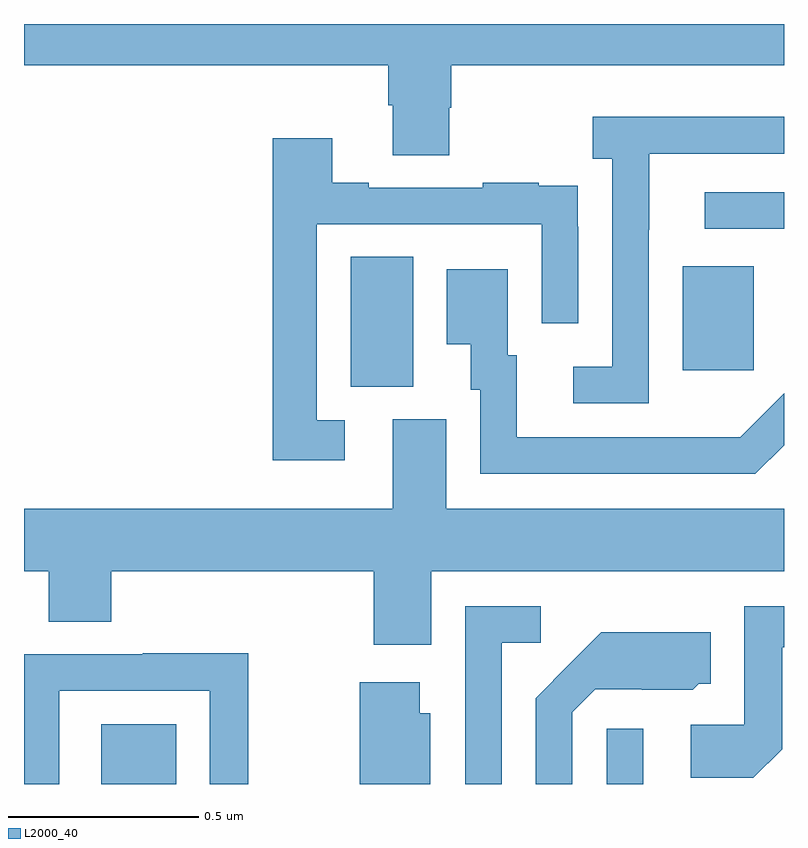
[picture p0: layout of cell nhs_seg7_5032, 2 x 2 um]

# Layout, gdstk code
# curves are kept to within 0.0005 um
import gdstk
lib = gdstk.Library(unit=1e-6, precision=1e-09)
def R(c, l, rs):  # rectangles x0, y0, x1, y1
    for r in rs: c.add(gdstk.rectangle(r[:2], r[2:], *l))
def P(c, l, *ps):  # polygons
    for p in ps: c.add(gdstk.Polygon(p, *l))
L2000_40 = (2000, 40)

nhs_seg7_5032 = lib.new_cell('nhs_seg7_5032')
R(nhs_seg7_5032, L2000_40, [(180.203,1056,180.4,1056.157), (181.533,1056,181.629,1056.145), (180.86,1057.045,181.024,1057.388), (181.733,1057.089,181.921,1057.363), (181.791,1057.461,182,1057.557)])
P(nhs_seg7_5032, L2000_40, [(181.119,1057.779),(181.124,1057.779),(181.124,1057.892),(182,1057.892),(182,1058),(180,1058),(180,1057.892),(180.959,1057.892),(180.959,1057.786),(180.971,1057.786),(180.971,1057.654),(181.119,1057.654)],
  [(181.644,1057.459),(181.645,1057.459),(181.645,1057.659),(182,1057.659),(182,1057.756),(181.497,1057.756),(181.497,1057.646),(181.548,1057.646),(181.548,1057.098),(181.446,1057.098),(181.446,1057.002),(181.644,1057.002)],
  [(180.844,1056.957),(180.771,1056.957),(180.771,1057.473),(181.362,1057.473),(181.362,1057.212),(181.458,1057.212),(181.458,1057.466),(181.457,1057.466),(181.457,1057.575),(181.355,1057.575),(181.355,1057.582),(181.207,1057.582),(181.207,1057.569),(180.907,1057.569),(180.907,1057.582),(180.811,1057.582),(180.811,1057.699),(180.655,1057.699),(180.655,1056.852),(180.844,1056.852)],
  [(182,1056.892),(182,1057.028),(181.885,1056.913),(181.781,1056.913),(181.781,1056.912),(181.297,1056.912),(181.297,1057.128),(181.273,1057.128),(181.273,1057.354),(181.112,1057.354),(181.112,1057.157),(181.175,1057.157),(181.175,1057.038),(181.2,1057.038),(181.2,1056.816),(181.924,1056.816)],
  [(181.072,1056.56),(182,1056.56),(182,1056.724),(181.111,1056.724),(181.111,1056.96),(180.971,1056.96),(180.971,1056.724),(180,1056.724),(180,1056.56),(180.065,1056.56),(180.065,1056.427),(180.23,1056.427),(180.23,1056.56),(180.92,1056.56),(180.92,1056.366),(181.072,1056.366)],
  [(181.995,1056.092),(181.995,1056.36),(182,1056.36),(182,1056.468),(181.896,1056.468),(181.896,1056.156),(181.755,1056.156),(181.755,1056.016),(181.919,1056.016)],
  [(181.257,1056.372),(181.36,1056.372),(181.36,1056.468),(181.161,1056.468),(181.161,1056),(181.257,1056)],
  [(181.443,1056.189),(181.503,1056.249),(181.626,1056.249),(181.626,1056.248),(181.76,1056.248),(181.776,1056.264),(181.807,1056.264),(181.807,1056.4),(181.519,1056.4),(181.347,1056.226),(181.347,1056),(181.443,1056)],
  [(180.093,1056.246),(180.489,1056.246),(180.489,1056),(180.59,1056),(180.59,1056.344),(180.313,1056.344),(180.313,1056.342),(180,1056.342),(180,1056),(180.093,1056)],
  [(181.069,1056.186),(181.042,1056.186),(181.042,1056.268),(180.884,1056.268),(180.884,1056),(181.069,1056)])

lib.write_gds('nhs_seg7_5032.gds')
